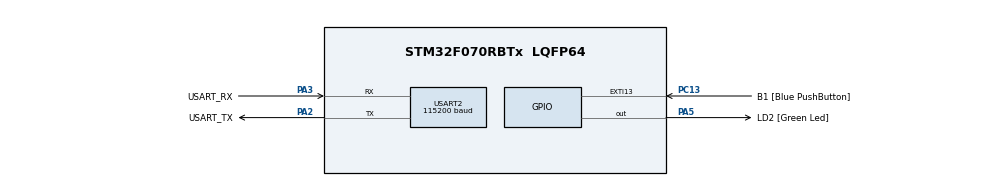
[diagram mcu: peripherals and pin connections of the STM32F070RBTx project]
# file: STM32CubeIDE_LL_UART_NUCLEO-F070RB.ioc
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Mcu.Family=STM32F0
Mcu.Name=STM32F070RBTx
Mcu.Package=LQFP64
NVIC.USART2_IRQn=true\:0\:0\:false\:false\:true\:true\:true
PA13.GPIO_Label=TMS
PA13.Mode=Serial_Wire
PA13.Signal=SYS_SWDIO
PA14.GPIO_Label=TCK
PA14.Mode=Serial_Wire
PA14.Signal=SYS_SWCLK
PA2.GPIO_Label=USART_TX
PA2.Mode=Asynchronous
PA2.Signal=USART2_TX
PA3.GPIO_Label=USART_RX
PA3.Mode=Asynchronous
PA3.Signal=USART2_RX
PA5.GPIO_Label=LD2 [Green Led]
PA5.Signal=GPIO_Output
PC13.GPIO_Label=B1 [Blue PushButton]
PC13.GPIO_ModeDefaultEXTI=GPIO_MODE_IT_FALLING
PC13.Signal=GPXTI13
PC14-OSC32_IN.GPIO_Label=RCC_OSC32_IN
PC14-OSC32_IN.Mode=LSE-External-Oscillator
PC14-OSC32_IN.Signal=RCC_OSC32_IN
PC15-OSC32_OUT.GPIO_Label=RCC_OSC32_OUT
PC15-OSC32_OUT.Mode=LSE-External-Oscillator
PC15-OSC32_OUT.Signal=RCC_OSC32_OUT
PF0-OSC_IN.GPIO_Label=RCC_OSC_IN
PF0-OSC_IN.Mode=HSE-External-Clock-Source
PF0-OSC_IN.Signal=RCC_OSC_IN
PF1-OSC_OUT.GPIO_Label=RCC_OSC_OUT
PF1-OSC_OUT.Signal=RCC_OSC_OUT
ProjectManager.HeapSize=0x200
ProjectManager.StackSize=0x400
ProjectManager.TargetToolchain=STM32CubeIDE
RCC.AHBFreq_Value=48000000
RCC.APB1Freq_Value=48000000
RCC.APB1TimFreq_Value=48000000
RCC.HCLKFreq_Value=48000000
RCC.PLLMUL=RCC_PLL_MUL6
RCC.SYSCLKFreq_VALUE=48000000
RCC.SYSCLKSource=RCC_SYSCLKSOURCE_PLLCLK
USART2.BaudRate=115200
USART2.VirtualMode-Asynchronous=VM_ASYNC
board=NUCLEO-F070RB

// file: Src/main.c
/* USER CODE BEGIN Header */
/**
  ******************************************************************************
  * @file           : main.c
  * @brief          : Main program body
  ******************************************************************************
  * @attention
  *
  * <h2><center>&copy; Copyright (c) 2020 STMicroelectronics.
  * All rights reserved.</center></h2>
  *
  * This software component is licensed by ST under BSD 3-Clause license,
  * the "License"; You may not use this file except in compliance with the
  * License. You may obtain a copy of the License at:
  *                        opensource.org/licenses/BSD-3-Clause
  *
  ******************************************************************************
  */
/* USER CODE END Header */

#include "main.h"

/* USER CODE BEGIN Includes */
#include "trice.h"
/* USER CODE END Includes */

void SystemClock_Config(void);
static void MX_GPIO_Init(void);
static void MX_USART2_UART_Init(void);

int main(void)
{
  /* USER CODE BEGIN 1 */
#ifdef ENCRYPT
    InitXteaTable();
#endif
  /* USER CODE END 1 */

  /* MCU Configuration--------------------------------------------------------*/

  /* Reset of all peripherals, Initializes the Flash interface and the Systick. */

  LL_APB1_GRP2_EnableClock(LL_APB1_GRP2_PERIPH_SYSCFG);
  LL_APB1_GRP1_EnableClock(LL_APB1_GRP1_PERIPH_PWR);

  /* System interrupt init*/

  /* Configure the system clock */
  SystemClock_Config();

  /* USER CODE BEGIN SysInit */
    SysTick->CTRL |= SysTick_CTRL_TICKINT_Msk; // enable SysTick interrupt
  /* USER CODE END SysInit */

  /* Initialize all configured peripherals */
  MX_GPIO_Init();
  MX_USART2_UART_Init();
  /* USER CODE BEGIN 2 */
    LL_USART_EnableIT_RXNE(USART2); // enable UART2 interrupt
  /* USER CODE END 2 */

  /* Infinite loop */
  /* USER CODE BEGIN WHILE */
  TRICE16_1( Id(54857), "tim:timing      message, SysTick is %6d\n", SYSTICKVAL16 );
  TRICE0( Id(25711), "att:STM32CubeIDE_LL_UART_NUCLEO-F070RB\n" );
  TRICE16_1( Id(13054), "tim:timing      message, SysTick is %6d\n", SYSTICKVAL16 );
  TRICE16_1( Id(19514), "tim:timing      message, SysTick is %6d\n", SYSTICKVAL16 );
  TRICE16_1( Id(18125), "tim:timing      message, SysTick is %6d\n", SYSTICKVAL16 );
  TRICE16_1( Id(44745), "tim:timing      message, SysTick is %6d\n", SYSTICKVAL16 );
    while (1)
    {
      //////////////////////////////////////////////////
      // demo trices
      //
      static uint32_t ms_1 = 0;
      if( ms >= ms_1 + 1000 ){ // every sec
          static int index = 0;
          triceCheckSet(index++%20);
          TRICE32_1( Id(59297), "time:ms = %d\n", ms );
          LL_GPIO_TogglePin(LD2_GPIO_Port, LD2_Pin);
          ms_1 = ms;
      }
      //
      //////////////////////////////////////////////////

      //////////////////////////////////////////////////
      // needed background activity
      //
        #ifdef LL_INTERFACE_NO_INTERRUPTS
        triceServe();
        #endif
      //
      //////////////////////////////////////////////////
    /* USER CODE END WHILE */

  }
}

void SystemClock_Config(void)
{
  LL_FLASH_SetLatency(LL_FLASH_LATENCY_1);

  if(LL_FLASH_GetLatency() != LL_FLASH_LATENCY_1)
  {
  Error_Handler();
  }
  LL_RCC_HSI_Enable();

   /* Wait till HSI is ready */
  while(LL_RCC_HSI_IsReady() != 1)
  {

  }
  LL_RCC_HSI_SetCalibTrimming(16);
  LL_RCC_PLL_ConfigDomain_SYS(LL_RCC_PLLSOURCE_HSI, LL_RCC_PLL_MUL_6, LL_RCC_PREDIV_DIV_1);
  LL_RCC_PLL_Enable();

   /* Wait till PLL is ready */
  while(LL_RCC_PLL_IsReady() != 1)
  {

  }
  LL_RCC_SetAHBPrescaler(LL_RCC_SYSCLK_DIV_1);
  LL_RCC_SetAPB1Prescaler(LL_RCC_APB1_DIV_1);
  LL_RCC_SetSysClkSource(LL_RCC_SYS_CLKSOURCE_PLL);

   /* Wait till System clock is ready */
  while(LL_RCC_GetSysClkSource() != LL_RCC_SYS_CLKSOURCE_STATUS_PLL)
  {

  }
  LL_Init1msTick(48000000);
  LL_SetSystemCoreClock(48000000);
}

static void MX_USART2_UART_Init(void)
{

  LL_USART_InitTypeDef USART_InitStruct = {0};

  LL_GPIO_InitTypeDef GPIO_InitStruct = {0};

  /* Peripheral clock enable */
  LL_APB1_GRP1_EnableClock(LL_APB1_GRP1_PERIPH_USART2);

  LL_AHB1_GRP1_EnableClock(LL_AHB1_GRP1_PERIPH_GPIOA);
  /**USART2 GPIO Configuration
  PA2   ------> USART2_TX
  PA3   ------> USART2_RX
  */
  GPIO_InitStruct.Pin = USART_TX_Pin;
  GPIO_InitStruct.Mode = LL_GPIO_MODE_ALTERNATE;
  GPIO_InitStruct.Speed = LL_GPIO_SPEED_FREQ_HIGH;
  GPIO_InitStruct.OutputType = LL_GPIO_OUTPUT_PUSHPULL;
  GPIO_InitStruct.Pull = LL_GPIO_PULL_NO;
  GPIO_InitStruct.Alternate = LL_GPIO_AF_1;
  LL_GPIO_Init(USART_TX_GPIO_Port, &GPIO_InitStruct);

  GPIO_InitStruct.Pin = USART_RX_Pin;
  GPIO_InitStruct.Mode = LL_GPIO_MODE_ALTERNATE;
  GPIO_InitStruct.Speed = LL_GPIO_SPEED_FREQ_HIGH;
  GPIO_InitStruct.OutputType = LL_GPIO_OUTPUT_PUSHPULL;
  GPIO_InitStruct.Pull = LL_GPIO_PULL_NO;
  GPIO_InitStruct.Alternate = LL_GPIO_AF_1;
  LL_GPIO_Init(USART_RX_GPIO_Port, &GPIO_InitStruct);

  /* USART2 interrupt Init */
  NVIC_SetPriority(USART2_IRQn, 0);
  NVIC_EnableIRQ(USART2_IRQn);

  USART_InitStruct.BaudRate = 115200;
  USART_InitStruct.DataWidth = LL_USART_DATAWIDTH_8B;
  USART_InitStruct.StopBits = LL_USART_STOPBITS_1;
  USART_InitStruct.Parity = LL_USART_PARITY_NONE;
  USART_InitStruct.TransferDirection = LL_USART_DIRECTION_TX_RX;
  USART_InitStruct.HardwareFlowControl = LL_USART_HWCONTROL_NONE;
  USART_InitStruct.OverSampling = LL_USART_OVERSAMPLING_16;
  LL_USART_Init(USART2, &USART_InitStruct);
  LL_USART_DisableIT_CTS(USART2);
  LL_USART_ConfigAsyncMode(USART2);
  LL_USART_Enable(USART2);

}

static void MX_GPIO_Init(void)
{
  LL_EXTI_InitTypeDef EXTI_InitStruct = {0};
  LL_GPIO_InitTypeDef GPIO_InitStruct = {0};

  /* GPIO Ports Clock Enable */
  LL_AHB1_GRP1_EnableClock(LL_AHB1_GRP1_PERIPH_GPIOC);
  LL_AHB1_GRP1_EnableClock(LL_AHB1_GRP1_PERIPH_GPIOF);
  LL_AHB1_GRP1_EnableClock(LL_AHB1_GRP1_PERIPH_GPIOA);

  /**/
  LL_GPIO_ResetOutputPin(LD2_GPIO_Port, LD2_Pin);

  /**/
  LL_SYSCFG_SetEXTISource(LL_SYSCFG_EXTI_PORTC, LL_SYSCFG_EXTI_LINE13);

  /**/
  LL_GPIO_SetPinPull(B1_GPIO_Port, B1_Pin, LL_GPIO_PULL_NO);

  /**/
  LL_GPIO_SetPinMode(B1_GPIO_Port, B1_Pin, LL_GPIO_MODE_INPUT);

  /**/
  EXTI_InitStruct.Line_0_31 = LL_EXTI_LINE_13;
  EXTI_InitStruct.LineCommand = ENABLE;
  EXTI_InitStruct.Mode = LL_EXTI_MODE_IT;
  EXTI_InitStruct.Trigger = LL_EXTI_TRIGGER_FALLING;
  LL_EXTI_Init(&EXTI_InitStruct);

  /**/
  GPIO_InitStruct.Pin = LD2_Pin;
  GPIO_InitStruct.Mode = LL_GPIO_MODE_OUTPUT;
  GPIO_InitStruct.Speed = LL_GPIO_SPEED_FREQ_LOW;
  GPIO_InitStruct.OutputType = LL_GPIO_OUTPUT_PUSHPULL;
  GPIO_InitStruct.Pull = LL_GPIO_PULL_NO;
  LL_GPIO_Init(LD2_GPIO_Port, &GPIO_InitStruct);

}

void Error_Handler(void)
{
}

/************************ (C) COPYRIGHT STMicroelectronics *****END OF FILE****/
